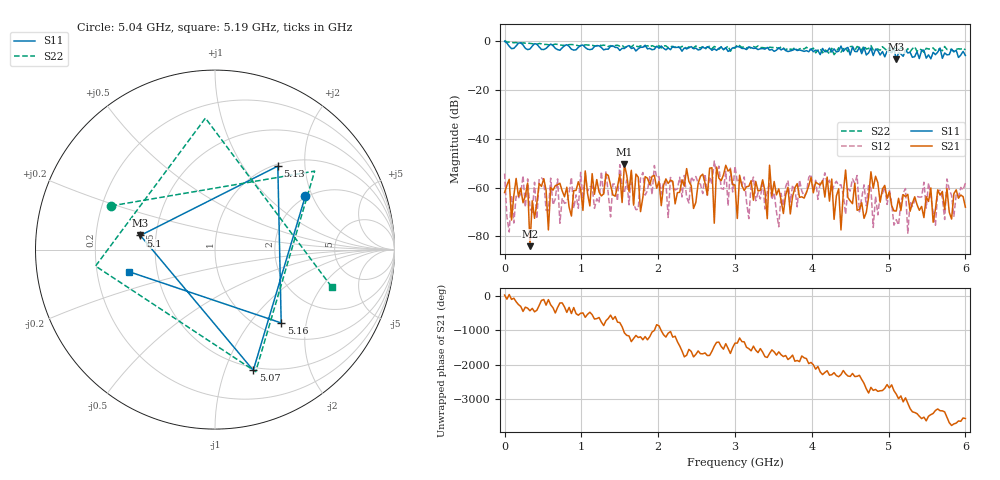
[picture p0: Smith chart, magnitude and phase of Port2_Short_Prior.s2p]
#  HZ  S  DB  R  50.0
! Rohde & Schwarz ZVL13 2Ports - Version 3.20 - 1303.6509k13 SN: 100953
! Date: 2024-10-21 06:05:59
! Data & Calibration Information:
! Trc1:S11(Cal Off) Trc4:S21(Cal Off) Trc2:S12(Cal Off) Trc3:S22(Cal Off)
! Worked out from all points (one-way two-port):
!   201 points, 5 kHz to 6 GHz, reference 50 ohm
!   highest |S21| = -50.50 dB at 1.56 GHz (marker M1); lowest = -84.0 dB at 330 MHz (marker M2)
!   lowest |S11| = -7.5 dB at 5.1 GHz (marker M3), VSWR 2.47, Z = 20.4 + j3.92 ohm
!   |S11| at or under -10 dB: nowhere
!   |S22| runs from -5.5 to 0.3 dB; largest |S21 - S12| = 0.0048
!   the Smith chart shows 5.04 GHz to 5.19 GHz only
!   S11 on the Smith chart (normalised r, x): 5.04 GHz: 1.96, +1.77; 5.07 GHz: 0.47, -1.26; 5.1 GHz: 0.41, +0.08; 5.13 GHz: 1.03, +1.46; 5.16 GHz: 1.23, -1.45; 5.19 GHz: 0.35, -0.11
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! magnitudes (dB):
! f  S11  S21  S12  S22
! 5 kHz  0.0  -62.0  -54.2  0.3
! 60 MHz  -2.1  -56.6  -78.2  -0.3
! 300 MHz  -3.4  -58.2  -56.4  -0.8
! 330 MHz  -3.2  -84.0  -68.4  -0.9
! 510 MHz  -3.4  -56.3  -56.8  -1.3
! 570 MHz  -2.0  -77.4  -69.6  -1.5
! 600 MHz  -1.2  -59.9  -56.1  -1.6
! 1.02 GHz  -1.5  -69.4  -64.9  -1.7
! 1.56 GHz  -3.0  -50.5  -62.2  -2.6
! 2.01 GHz  -2.9  -57.4  -55.4  -1.8
! 2.13 GHz  -2.8  -58.3  -72.3  -2.7
! 3 GHz  -2.5  -58.9  -51.3  -2.8
! 3.18 GHz  -2.4  -59.5  -72.7  -2.4
! 4.02 GHz  -4.3  -62.1  -61.3  -2.8
! 5.01 GHz  -4.4  -61.7  -60.9  -2.5
! 5.04 GHz  -4.7  -67.4  -66.6  -4.1
! 5.07 GHz  -3.0  -69.6  -75.4  -3.0
! 5.1 GHz  -7.5  -69.6  -73.2  -2.9
! 5.13 GHz  -4.7  -64.4  -75.4  -3.5
! 5.16 GHz  -5.2  -69.4  -66.0  -2.7
! 5.19 GHz  -6.2  -62.9  -62.2  -3.3
! 6 GHz  -5.8  -68.0  -58.1  -3.5
